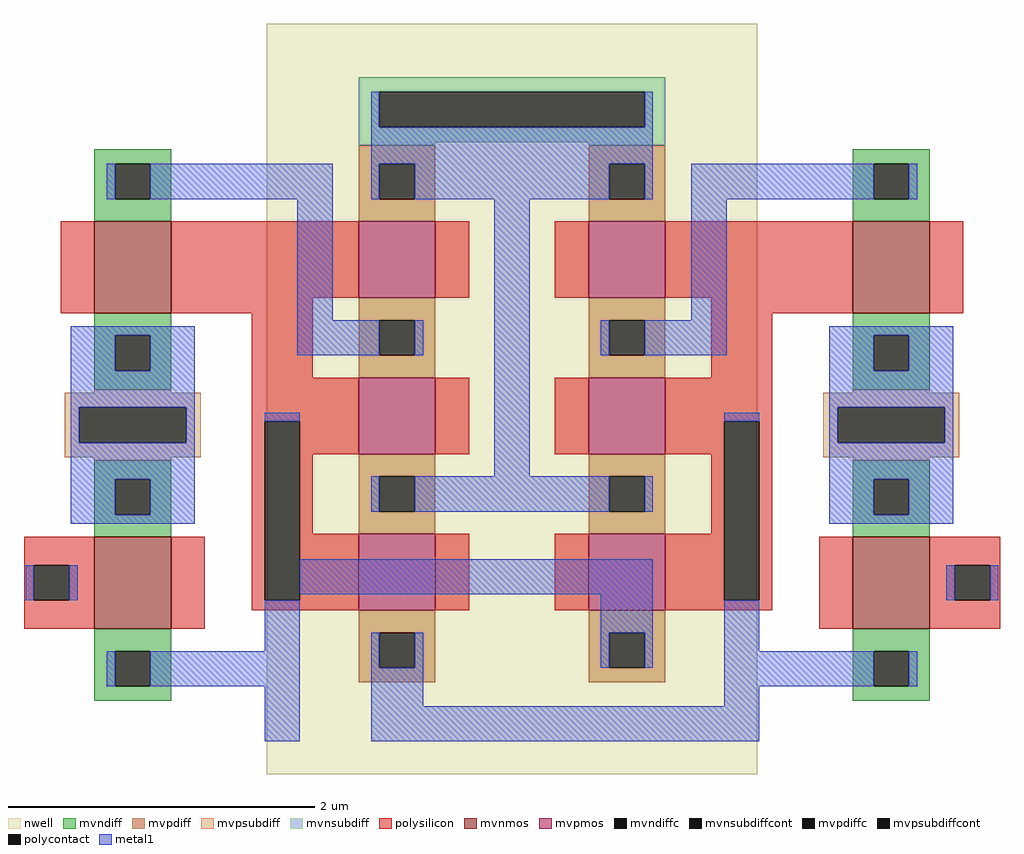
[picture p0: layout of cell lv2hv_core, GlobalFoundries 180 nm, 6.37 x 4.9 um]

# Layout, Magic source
magic
tech gf180mcuD
magscale 1 10
<< nwell >>
rect 317 0 957 980
<< mvnmos >>
rect 92 602 192 722
rect 1082 602 1182 722
rect 92 190 192 310
rect 1082 190 1182 310
<< mvpmos >>
rect 437 622 537 722
rect 737 622 837 722
rect 437 418 537 518
rect 737 418 837 518
rect 437 214 537 314
rect 737 214 837 314
<< mvndiff >>
rect 92 797 192 816
rect 92 751 119 797
rect 165 751 192 797
rect 92 722 192 751
rect 1082 797 1182 816
rect 1082 751 1109 797
rect 1155 751 1182 797
rect 1082 722 1182 751
rect 92 573 192 602
rect 92 527 119 573
rect 165 527 192 573
rect 92 502 192 527
rect 92 385 192 410
rect 92 339 119 385
rect 165 339 192 385
rect 92 310 192 339
rect 1082 573 1182 602
rect 1082 527 1109 573
rect 1155 527 1182 573
rect 1082 502 1182 527
rect 1082 385 1182 410
rect 1082 339 1109 385
rect 1155 339 1182 385
rect 1082 310 1182 339
rect 92 161 192 190
rect 92 115 119 161
rect 165 115 192 161
rect 1082 161 1182 190
rect 92 96 192 115
rect 1082 115 1109 161
rect 1155 115 1182 161
rect 1082 96 1182 115
<< mvpdiff >>
rect 437 797 537 821
rect 437 751 464 797
rect 510 751 537 797
rect 437 722 537 751
rect 737 797 837 821
rect 737 751 764 797
rect 810 751 837 797
rect 737 722 837 751
rect 437 593 537 622
rect 437 547 464 593
rect 510 547 537 593
rect 437 518 537 547
rect 737 593 837 622
rect 737 547 764 593
rect 810 547 837 593
rect 737 518 837 547
rect 437 389 537 418
rect 437 343 464 389
rect 510 343 537 389
rect 437 314 537 343
rect 737 389 837 418
rect 737 343 764 389
rect 810 343 837 389
rect 737 314 837 343
rect 437 185 537 214
rect 437 139 464 185
rect 510 139 537 185
rect 437 120 537 139
rect 737 185 837 214
rect 737 139 764 185
rect 810 139 837 185
rect 737 120 837 139
<< mvndiffc >>
rect 119 751 165 797
rect 1109 751 1155 797
rect 119 527 165 573
rect 119 339 165 385
rect 1109 527 1155 573
rect 1109 339 1155 385
rect 119 115 165 161
rect 1109 115 1155 161
<< mvpdiffc >>
rect 464 751 510 797
rect 764 751 810 797
rect 464 547 510 593
rect 764 547 810 593
rect 464 343 510 389
rect 764 343 810 389
rect 464 139 510 185
rect 764 139 810 185
<< mvpsubdiff >>
rect 92 498 192 502
rect 53 479 231 498
rect 53 433 72 479
rect 212 433 231 479
rect 53 414 231 433
rect 92 410 192 414
rect 1082 498 1182 502
rect 1043 479 1221 498
rect 1043 433 1062 479
rect 1202 433 1221 479
rect 1043 414 1221 433
rect 1082 410 1182 414
<< mvnsubdiff >>
rect 437 891 837 910
rect 437 845 464 891
rect 810 845 837 891
rect 437 825 837 845
rect 437 821 537 825
rect 737 821 837 825
<< mvpsubdiffcont >>
rect 72 433 212 479
rect 1062 433 1202 479
<< mvnsubdiffcont >>
rect 464 845 810 891
<< polysilicon >>
rect 48 602 92 722
rect 192 622 437 722
rect 537 622 581 722
rect 693 622 737 722
rect 837 622 1082 722
rect 192 602 377 622
rect 297 518 377 602
rect 897 602 1082 622
rect 1182 602 1226 722
rect 897 518 977 602
rect 297 461 437 518
rect 0 273 92 310
rect 0 227 13 273
rect 59 227 92 273
rect 0 190 92 227
rect 192 190 236 310
rect 297 227 314 461
rect 360 418 437 461
rect 537 418 581 518
rect 693 418 737 518
rect 837 461 977 518
rect 837 418 914 461
rect 360 314 377 418
rect 897 314 914 418
rect 360 227 437 314
rect 297 214 437 227
rect 537 214 581 314
rect 693 214 737 314
rect 837 227 914 314
rect 960 227 977 461
rect 837 214 977 227
rect 1038 190 1082 310
rect 1182 273 1274 310
rect 1182 227 1215 273
rect 1261 227 1274 273
rect 1182 190 1274 227
<< polycontact >>
rect 13 227 59 273
rect 314 227 360 461
rect 914 227 960 461
rect 1215 227 1261 273
<< metal1 >>
rect 453 845 464 891
rect 810 845 821 891
rect 453 797 821 845
rect 108 751 119 797
rect 165 751 403 797
rect 453 751 464 797
rect 510 751 764 797
rect 810 751 821 797
rect 871 751 1109 797
rect 1155 751 1166 797
rect 357 593 403 751
rect 61 573 223 585
rect 61 527 119 573
rect 165 527 223 573
rect 357 547 464 593
rect 510 547 521 593
rect 61 479 223 527
rect 61 433 72 479
rect 212 433 223 479
rect 61 385 223 433
rect 61 339 119 385
rect 165 339 223 385
rect 61 327 223 339
rect 314 461 360 472
rect 2 227 13 273
rect 59 227 70 273
rect 614 389 660 751
rect 871 593 917 751
rect 753 547 764 593
rect 810 547 917 593
rect 1051 573 1213 585
rect 1051 527 1109 573
rect 1155 527 1213 573
rect 1051 479 1213 527
rect 914 461 960 472
rect 453 343 464 389
rect 510 343 764 389
rect 810 343 821 389
rect 360 235 821 281
rect 314 161 360 227
rect 753 185 821 235
rect 108 115 119 161
rect 165 115 360 161
rect 314 43 360 115
rect 453 139 464 185
rect 510 139 521 185
rect 753 139 764 185
rect 810 139 821 185
rect 1051 433 1062 479
rect 1202 433 1213 479
rect 1051 385 1213 433
rect 1051 339 1109 385
rect 1155 339 1213 385
rect 1051 327 1213 339
rect 1204 227 1215 273
rect 1261 227 1272 273
rect 914 161 960 227
rect 453 89 521 139
rect 914 115 1109 161
rect 1155 115 1166 161
rect 914 89 960 115
rect 453 43 960 89
<< properties >>
string FIXED_BBOX 0 0 1274 980
<< end >>
